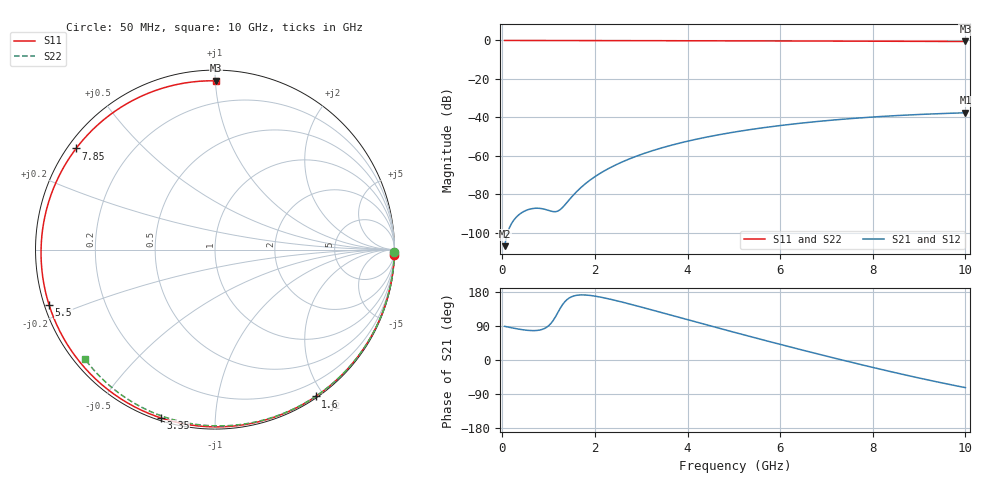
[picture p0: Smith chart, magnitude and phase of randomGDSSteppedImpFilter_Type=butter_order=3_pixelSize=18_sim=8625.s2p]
! freq	dB(S11)	phase(S11)	dB(S12)	phase(S12)
!  dB(S21)	phase(S21)	dB(S22)	phase(S22)
!S-par simulation data
#  GHz  S  DB  R 50
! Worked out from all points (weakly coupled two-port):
!   200 points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, 50 MHz to 10 GHz, reference 50 ohm
!   highest |S21| = -37.63 dB at 10 GHz (marker M1); lowest = -107.0 dB at 50 MHz (marker M2)
!   lowest |S11| = -0.5 dB at 10 GHz (marker M3), VSWR 32.51, Z = 3.09 + j50.2 ohm
!   |S11| at or under -10 dB: nowhere
!   |S22| runs from -0.5 to 0.0 dB; largest |S21 - S12| = 0
!   S11 on the Smith chart (normalised r, x): 50 MHz: 0, -63; 1.6 GHz: 0.02, -1.90; 3.35 GHz: 0.01, -0.73; 5.5 GHz: 0.01, -0.16; 7.85 GHz: 0.02, +0.33; 10 GHz: 0.06, +1.00
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0.05  -0.00 -1.8  -107.03 88.9  -107.03 88.9  -0.00 -0.8
0.4  -0.02 -14.3  -89.92 80.6  -89.92 80.6  -0.01 -6.5
0.75  -0.03 -26.7  -87.28 78.0  -87.28 78.0  -0.02 -12.1
1.15  -0.05 -40.5  -89.10 114.4  -89.10 114.4  -0.02 -18.4
1.55  -0.07 -53.9  -80.05 169.2  -80.05 169.2  -0.03 -24.8
1.6  -0.07 -55.5  -78.80 170.6  -78.80 170.6  -0.03 -25.6
1.75  -0.07 -60.4  -75.43 171.8  -75.43 171.8  -0.04 -27.9
2.05  -0.09 -69.9  -70.09 167.5  -70.09 167.5  -0.04 -32.6
2.4  -0.10 -80.7  -65.34 158.5  -65.34 158.5  -0.05 -38.0
2.85  -0.11 -93.9  -60.63 144.6  -60.63 144.6  -0.06 -44.8
3.35  -0.13 -107.9  -56.55 128.2  -56.55 128.2  -0.07 -52.3
3.4  -0.13 -109.3  -56.19 126.5  -56.19 126.5  -0.07 -53.1
4.25  -0.16 -131.4  -51.09 98.1  -51.09 98.1  -0.09 -65.4
5.05  -0.20 -150.9  -47.51 71.8  -47.51 71.8  -0.12 -76.7
5.5  -0.22 -161.5  -45.86 57.2  -45.86 57.2  -0.13 -82.9
6.1  -0.26 -175.4  -43.98 38.1  -43.98 38.1  -0.16 -90.9
6.7  -0.30 170.8  -42.41 19.4  -42.41 19.4  -0.19 -98.8
7.25  -0.34 158.1  -41.19 2.6  -41.19 2.6  -0.22 -105.8
7.85  -0.38 143.9  -40.08 -15.2  -40.08 -15.2  -0.27 -113.4
8.35  -0.42 131.9  -39.31 -29.6  -39.31 -29.6  -0.31 -119.6
9.2  -0.48 110.6  -38.31 -52.9  -38.31 -52.9  -0.39 -130.1
10  -0.53 89.7  -37.63 -72.9  -37.63 -72.9  -0.47 -139.9
